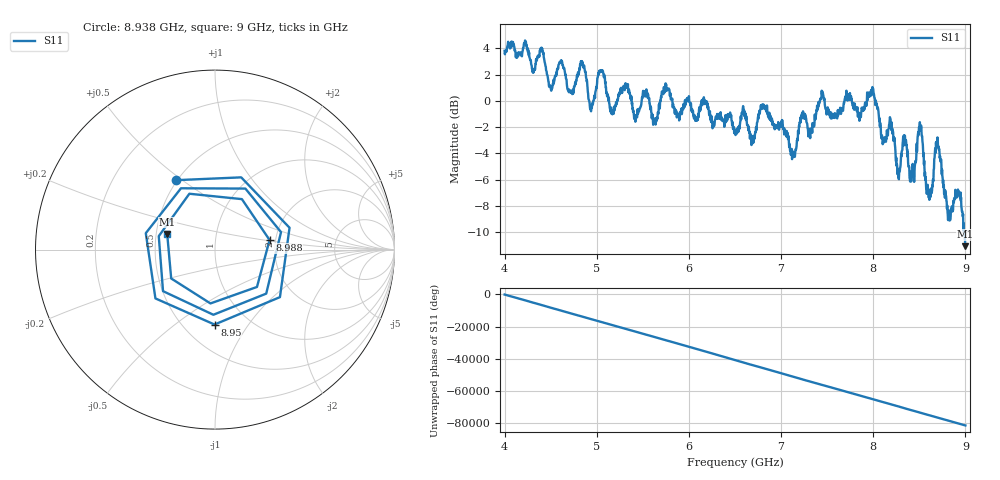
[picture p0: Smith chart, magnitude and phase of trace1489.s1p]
! Created with skrf 1.8.0 (http://scikit-rf.org).
# Hz S RI R 50.0
!freq ReS11 ImS11
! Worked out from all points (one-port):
!   1601 points, 4 GHz to 9 GHz, reference 50 ohm
!   lowest |S11| = -11.1 dB at 9 GHz (marker M1), VSWR 1.78, Z = 28.6 + j5.37 ohm
!   |S11| at or under -10 dB: 8.984972 GHz to end of sweep
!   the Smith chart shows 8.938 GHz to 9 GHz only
!   S11 on the Smith chart (normalised r, x): 8.938 GHz: 0.49, +0.47; 8.95 GHz: 0.70, -0.71; 8.988 GHz: 1.86, +0.22; 9 GHz: 0.57, +0.11
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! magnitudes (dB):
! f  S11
! 4 GHz  3.8
! 4.403 GHz  3.9
! 4.503 GHz  0.9
! 4.625 GHz  2.9
! 4.722 GHz  0.7
! 4.844 GHz  2.9
! 4.934 GHz  -0.6
! 5.044 GHz  2.3
! 5.159 GHz  -1.0
! 5.25 GHz  0.7
! 5.875 GHz  -1.0
! 6.5 GHz  -2.4
! 6.812 GHz  -0.3
! 7.125 GHz  -4.0
! 7.438 GHz  0.3
! 7.75 GHz  0.2
! 7.994 GHz  0.8
! 8.269 GHz  -5.2
! 8.375 GHz  -3.9
! 8.422 GHz  -5.6
! 8.506 GHz  -1.6
! 8.597 GHz  -6.7
! 8.694 GHz  -3.1
! 8.819 GHz  -8.4
! 8.938 GHz  -7.1
! 8.95 GHz  -7.6
! 8.988 GHz  -10.2
! 9 GHz  -11.1
